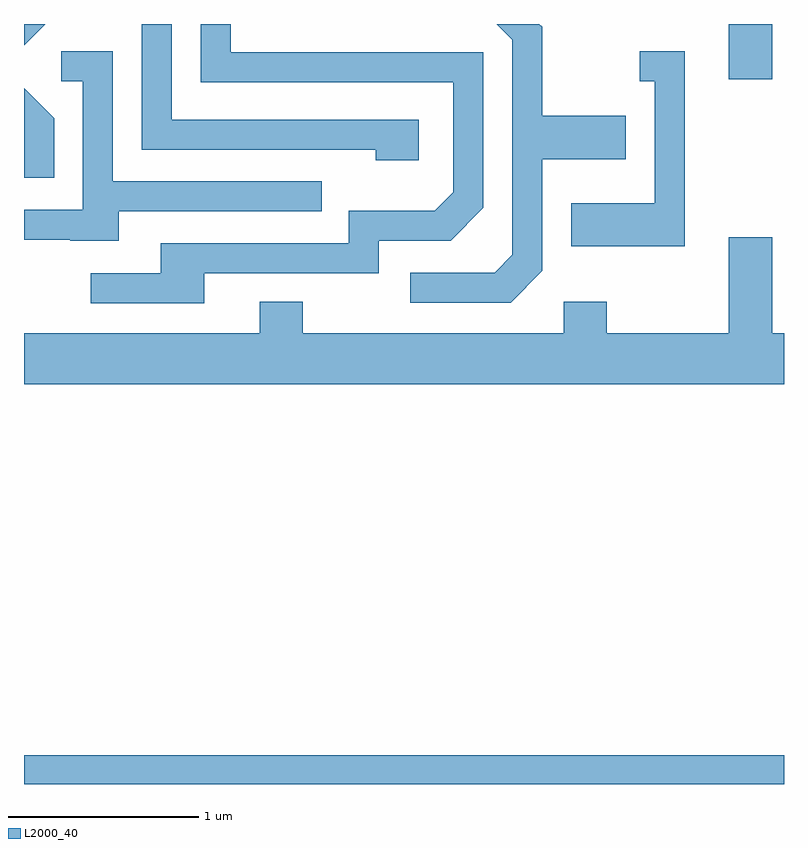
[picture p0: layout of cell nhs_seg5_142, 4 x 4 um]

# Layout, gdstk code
import gdstk
lib = gdstk.Library(unit=1e-6, precision=1e-09)
def R(c, l, rs):  # rectangles x0, y0, x1, y1
    for r in rs: c.add(gdstk.rectangle(r[:2], r[2:], *l))
def P(c, l, *ps):  # polygons
    for p in ps: c.add(gdstk.Polygon(p, *l))
L2000_40 = (2000, 40)

nhs_seg5_142 = lib.new_cell('nhs_seg5_142')
R(nhs_seg5_142, L2000_40, [(189.611,1408.072,193.611,1408.224), (193.321,1411.781,193.549,1412.072)])
P(nhs_seg5_142, L2000_40, [(189.723,1412.072),(189.611,1412.072),(189.611,1411.96)],
  [(191.689,1411.569),(190.389,1411.569),(190.389,1412.072),(190.231,1412.072),(190.231,1411.411),(191.461,1411.411),(191.461,1411.356),(191.689,1411.356)],
  [(190.559,1410.761),(191.479,1410.761),(191.479,1410.931),(191.857,1410.931),(192.029,1411.104),(192.029,1411.924),(190.699,1411.924),(190.699,1412.072),(190.541,1412.072),(190.541,1411.766),(191.871,1411.766),(191.871,1411.187),(191.774,1411.089),(191.321,1411.089),(191.321,1410.919),(190.331,1410.919),(190.331,1410.759),(189.963,1410.759),(189.963,1410.601),(190.559,1410.601)],
  [(192.339,1410.774),(192.339,1411.361),(192.779,1411.361),(192.779,1411.589),(192.339,1411.589),(192.339,1412.057),(192.324,1412.072),(192.098,1412.072),(192.181,1411.989),(192.181,1410.857),(192.089,1410.764),(191.643,1410.764),(191.643,1410.606),(192.172,1410.606)],
  [(190.109,1411.086),(191.178,1411.086),(191.178,1411.244),(190.079,1411.244),(190.079,1411.929),(189.808,1411.929),(189.808,1411.771),(189.921,1411.771),(189.921,1411.094),(189.611,1411.094),(189.611,1410.936),(189.855,1410.936),(189.855,1410.931),(190.109,1410.931)],
  [(193.089,1411.929),(192.853,1411.929),(192.853,1411.771),(192.931,1411.771),(192.931,1411.129),(192.491,1411.129),(192.491,1410.901),(193.089,1410.901)],
  [(189.769,1411.577),(189.611,1411.735),(189.611,1411.263),(189.769,1411.263)],
  [(193.611,1410.444),(193.549,1410.444),(193.549,1410.949),(193.321,1410.949),(193.321,1410.444),(192.679,1410.444),(192.679,1410.609),(192.451,1410.609),(192.451,1410.444),(191.079,1410.444),(191.079,1410.609),(190.851,1410.609),(190.851,1410.444),(189.611,1410.444),(189.611,1410.176),(193.611,1410.176)])

lib.write_gds('nhs_seg5_142.gds')
